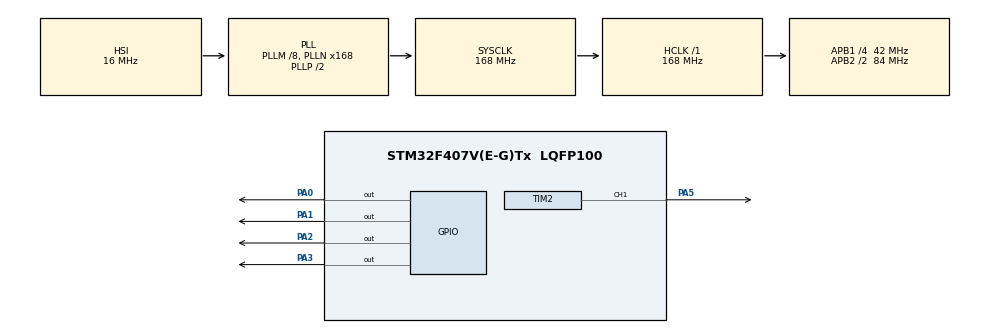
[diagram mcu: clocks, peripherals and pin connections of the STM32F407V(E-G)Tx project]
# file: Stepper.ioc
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Mcu.Family=STM32F4
Mcu.Name=STM32F407V(E-G)Tx
Mcu.Package=LQFP100
NVIC.PriorityGroup=NVIC_PRIORITYGROUP_4
NVIC.TIM2_IRQn=true\:0\:0\:false\:false\:true\:true\:true\:true
PA0-WKUP.Signal=GPIO_Output
PA1.Signal=GPIO_Output
PA2.Signal=GPIO_Output
PA3.Signal=GPIO_Output
PA5.Signal=S_TIM2_CH1_ETR
PH0-OSC_IN.Mode=HSE-External-Oscillator
PH0-OSC_IN.Signal=RCC_OSC_IN
PH1-OSC_OUT.Mode=HSE-External-Oscillator
PH1-OSC_OUT.Signal=RCC_OSC_OUT
ProjectManager.HeapSize=0x200
ProjectManager.StackSize=0x400
ProjectManager.TargetToolchain=MDK-ARM V5.32
RCC.48MHZClocksFreq_Value=84000000
RCC.AHBFreq_Value=168000000
RCC.APB1CLKDivider=RCC_HCLK_DIV4
RCC.APB1Freq_Value=42000000
RCC.APB1TimFreq_Value=84000000
RCC.APB2CLKDivider=RCC_HCLK_DIV2
RCC.APB2Freq_Value=84000000
RCC.APB2TimFreq_Value=168000000
RCC.CortexFreq_Value=168000000
RCC.HCLKFreq_Value=168000000
RCC.HSE_VALUE=8000000
RCC.HSI_VALUE=16000000
RCC.LSE_VALUE=32768
RCC.PLLM=8
RCC.PLLN=168
RCC.SYSCLKFreq_VALUE=168000000
RCC.SYSCLKSource=RCC_SYSCLKSOURCE_PLLCLK
RCC.VCOOutputFreq_Value=336000000
SH.S_TIM2_CH1_ETR.0=TIM2_CH1,Output Compare1 CH1
TIM2.Channel-Output\ Compare1\ CH1=TIM_CHANNEL_1
TIM2.OCMode_1=TIM_OCMODE_TOGGLE
TIM2.Period=99999
TIM2.Prescaler=42
TIM2.Pulse-Output\ Compare1\ CH1=100
VP_TIM2_VS_ClockSourceINT.Mode=Internal
board=custom

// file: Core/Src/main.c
/* USER CODE BEGIN Header */
/**
 ******************************************************************************
 * @file           : main.c
 * @brief          : Main program body
 ******************************************************************************
 * @attention
 *
 * Copyright (c) 2025 STMicroelectronics.
 * All rights reserved.
 *
 * This software is licensed under terms that can be found in the LICENSE file
 * in the root directory of this software component.
 * If no LICENSE file comes with this software, it is provided AS-IS.
 *
 ******************************************************************************
 */
/* USER CODE END Header */
#include "main.h"

TIM_HandleTypeDef htim2;

/* USER CODE BEGIN PV */
int count = 0;
/* USER CODE END PV */

void SystemClock_Config(void);
static void MX_GPIO_Init(void);
static void MX_TIM2_Init(void);
/* USER CODE BEGIN PFP */
// void HAL_TIM_PeriodElapsedCallback(TIM_HandleTypeDef* htim);
void HAL_TIM_OC_DelayElapsedCallback(TIM_HandleTypeDef* htim);
/* USER CODE END PFP */

/* USER CODE BEGIN 0 */
// void HAL_TIM_PeriodElapsedCallback(TIM_HandleTypeDef* htim)
// {
// 	if (htim->Instance == TIM2)
// 	{
// 		count++;
// 		if (count % 4 == 0)
// 		{
// 			HAL_GPIO_WritePin(GPIOA, GPIO_PIN_0, 1);
// 			HAL_GPIO_WritePin(GPIOA, GPIO_PIN_1, 0);
// 			HAL_GPIO_WritePin(GPIOA, GPIO_PIN_2, 0);
// 			HAL_GPIO_WritePin(GPIOA, GPIO_PIN_3, 0);
// 		}
// 		else if (count % 4 == 1)
// 		{
// 			HAL_GPIO_WritePin(GPIOA, GPIO_PIN_0, 0);
// 			HAL_GPIO_WritePin(GPIOA, GPIO_PIN_1, 1);
// 			HAL_GPIO_WritePin(GPIOA, GPIO_PIN_2, 0);
// 			HAL_GPIO_WritePin(GPIOA, GPIO_PIN_3, 0);
// 		}
// 		else if (count % 4 == 2)
// 		{
// 			HAL_GPIO_WritePin(GPIOA, GPIO_PIN_0, 0);
// 			HAL_GPIO_WritePin(GPIOA, GPIO_PIN_1, 0);
// 			HAL_GPIO_WritePin(GPIOA, GPIO_PIN_2, 1);
// 			HAL_GPIO_WritePin(GPIOA, GPIO_PIN_3, 0);
// 		}
// 		else if (count % 4 == 3)
// 		{
// 			HAL_GPIO_WritePin(GPIOA, GPIO_PIN_0, 0);
// 			HAL_GPIO_WritePin(GPIOA, GPIO_PIN_1, 0);
// 			HAL_GPIO_WritePin(GPIOA, GPIO_PIN_2, 0);
// 			HAL_GPIO_WritePin(GPIOA, GPIO_PIN_3, 1);
// 		}
// 	}
// }

void HAL_TIM_OC_DelayElapsedCallback(TIM_HandleTypeDef* htim)
{
	if (htim->Instance == TIM2)
	{
		count++;
		if (count % 4 == 0)
		{
			HAL_GPIO_WritePin(GPIOA, GPIO_PIN_0, 1);
			HAL_GPIO_WritePin(GPIOA, GPIO_PIN_1, 0);
			HAL_GPIO_WritePin(GPIOA, GPIO_PIN_2, 0);
			HAL_GPIO_WritePin(GPIOA, GPIO_PIN_3, 0);
		}
		else if (count % 4 == 1)
		{
			HAL_GPIO_WritePin(GPIOA, GPIO_PIN_0, 0);
			HAL_GPIO_WritePin(GPIOA, GPIO_PIN_1, 1);
			HAL_GPIO_WritePin(GPIOA, GPIO_PIN_2, 0);
			HAL_GPIO_WritePin(GPIOA, GPIO_PIN_3, 0);
		}
		else if (count % 4 == 2)
		{
			HAL_GPIO_WritePin(GPIOA, GPIO_PIN_0, 0);
			HAL_GPIO_WritePin(GPIOA, GPIO_PIN_1, 0);
			HAL_GPIO_WritePin(GPIOA, GPIO_PIN_2, 1);
			HAL_GPIO_WritePin(GPIOA, GPIO_PIN_3, 0);
		}
		else if (count % 4 == 3)
		{
			HAL_GPIO_WritePin(GPIOA, GPIO_PIN_0, 0);
			HAL_GPIO_WritePin(GPIOA, GPIO_PIN_1, 0);
			HAL_GPIO_WritePin(GPIOA, GPIO_PIN_2, 0);
			HAL_GPIO_WritePin(GPIOA, GPIO_PIN_3, 1);
		}
	}
}
/* USER CODE END 0 */

int main(void)
{

	/* MCU Configuration--------------------------------------------------------*/

	/* Reset of all peripherals, Initializes the Flash interface and the Systick. */
	HAL_Init();

	/* Configure the system clock */
	SystemClock_Config();

	/* Initialize all configured peripherals */
	MX_GPIO_Init();
	MX_TIM2_Init();
	/* USER CODE BEGIN 2 */
	HAL_TIM_Base_Start_IT(&htim2);
	HAL_TIM_OC_Start_IT(&htim2, TIM_CHANNEL_1);

	/* USER CODE END 2 */

	/* Infinite loop */
	while (1)
	{

	}
}

void SystemClock_Config(void)
{
	RCC_OscInitTypeDef RCC_OscInitStruct = { 0 };
	RCC_ClkInitTypeDef RCC_ClkInitStruct = { 0 };

	/** Configure the main internal regulator output voltage
	 */
	__HAL_RCC_PWR_CLK_ENABLE();
	__HAL_PWR_VOLTAGESCALING_CONFIG(PWR_REGULATOR_VOLTAGE_SCALE1);

	/** Initializes the RCC Oscillators according to the specified parameters
	 * in the RCC_OscInitTypeDef structure.
	 */
	RCC_OscInitStruct.OscillatorType = RCC_OSCILLATORTYPE_HSI;
	RCC_OscInitStruct.HSIState = RCC_HSI_ON;
	RCC_OscInitStruct.HSICalibrationValue = RCC_HSICALIBRATION_DEFAULT;
	RCC_OscInitStruct.PLL.PLLState = RCC_PLL_ON;
	RCC_OscInitStruct.PLL.PLLSource = RCC_PLLSOURCE_HSI;
	RCC_OscInitStruct.PLL.PLLM = 8;
	RCC_OscInitStruct.PLL.PLLN = 168;
	RCC_OscInitStruct.PLL.PLLP = RCC_PLLP_DIV2;
	RCC_OscInitStruct.PLL.PLLQ = 4;
	if (HAL_RCC_OscConfig(&RCC_OscInitStruct) != HAL_OK)
	{
		Error_Handler();
	}

	/** Initializes the CPU, AHB and APB buses clocks
	 */
	RCC_ClkInitStruct.ClockType = RCC_CLOCKTYPE_HCLK | RCC_CLOCKTYPE_SYSCLK
		| RCC_CLOCKTYPE_PCLK1 | RCC_CLOCKTYPE_PCLK2;
	RCC_ClkInitStruct.SYSCLKSource = RCC_SYSCLKSOURCE_PLLCLK;
	RCC_ClkInitStruct.AHBCLKDivider = RCC_SYSCLK_DIV1;
	RCC_ClkInitStruct.APB1CLKDivider = RCC_HCLK_DIV4;
	RCC_ClkInitStruct.APB2CLKDivider = RCC_HCLK_DIV2;

	if (HAL_RCC_ClockConfig(&RCC_ClkInitStruct, FLASH_LATENCY_5) != HAL_OK)
	{
		Error_Handler();
	}
}

static void MX_TIM2_Init(void)
{

	TIM_ClockConfigTypeDef sClockSourceConfig = { 0 };
	TIM_MasterConfigTypeDef sMasterConfig = { 0 };
	TIM_OC_InitTypeDef sConfigOC = { 0 };

	htim2.Instance = TIM2;
	htim2.Init.Prescaler = 42;
	htim2.Init.CounterMode = TIM_COUNTERMODE_UP;
	htim2.Init.Period = 99999;
	htim2.Init.ClockDivision = TIM_CLOCKDIVISION_DIV1;
	htim2.Init.AutoReloadPreload = TIM_AUTORELOAD_PRELOAD_DISABLE;
	if (HAL_TIM_Base_Init(&htim2) != HAL_OK)
	{
		Error_Handler();
	}
	sClockSourceConfig.ClockSource = TIM_CLOCKSOURCE_INTERNAL;
	if (HAL_TIM_ConfigClockSource(&htim2, &sClockSourceConfig) != HAL_OK)
	{
		Error_Handler();
	}
	if (HAL_TIM_OC_Init(&htim2) != HAL_OK)
	{
		Error_Handler();
	}
	sMasterConfig.MasterOutputTrigger = TIM_TRGO_RESET;
	sMasterConfig.MasterSlaveMode = TIM_MASTERSLAVEMODE_DISABLE;
	if (HAL_TIMEx_MasterConfigSynchronization(&htim2, &sMasterConfig) != HAL_OK)
	{
		Error_Handler();
	}
	sConfigOC.OCMode = TIM_OCMODE_TOGGLE;
	sConfigOC.Pulse = 100;
	sConfigOC.OCPolarity = TIM_OCPOLARITY_HIGH;
	sConfigOC.OCFastMode = TIM_OCFAST_DISABLE;
	if (HAL_TIM_OC_ConfigChannel(&htim2, &sConfigOC, TIM_CHANNEL_1) != HAL_OK)
	{
		Error_Handler();
	}
	HAL_TIM_MspPostInit(&htim2);
}

static void MX_GPIO_Init(void)
{
	GPIO_InitTypeDef GPIO_InitStruct = { 0 };

	/* GPIO Ports Clock Enable */
	__HAL_RCC_GPIOH_CLK_ENABLE();
	__HAL_RCC_GPIOA_CLK_ENABLE();

	/*Configure GPIO pin Output Level */
	HAL_GPIO_WritePin(GPIOA, GPIO_PIN_0 | GPIO_PIN_1 | GPIO_PIN_2 | GPIO_PIN_3, GPIO_PIN_RESET);

	/*Configure GPIO pins : PA0 PA1 PA2 PA3 */
	GPIO_InitStruct.Pin = GPIO_PIN_0 | GPIO_PIN_1 | GPIO_PIN_2 | GPIO_PIN_3;
	GPIO_InitStruct.Mode = GPIO_MODE_OUTPUT_PP;
	GPIO_InitStruct.Pull = GPIO_NOPULL;
	GPIO_InitStruct.Speed = GPIO_SPEED_FREQ_LOW;
	HAL_GPIO_Init(GPIOA, &GPIO_InitStruct);
}

void Error_Handler(void)
{
	__disable_irq();
	while (1)
	{
	}
}
